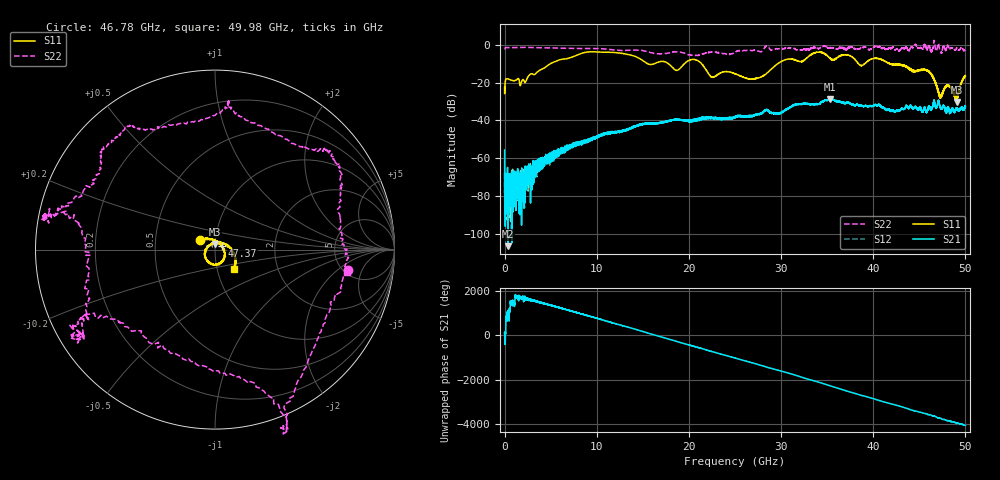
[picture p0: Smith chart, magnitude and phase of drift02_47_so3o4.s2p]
!Created with skrf (http://scikit-rf.org).
# Hz S RI R 50.0
!freq ReS11 ImS11 ReS21 ImS21 ReS12 ImS12 ReS22 ImS22
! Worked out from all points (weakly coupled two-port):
!   10001 points, 300 kHz to 50 GHz, reference 50 ohm
!   highest |S21| = -28.56 dB at 35.32 GHz (marker M1); lowest = -106.5 dB at 340.3 MHz (marker M2)
!   lowest |S11| = -30.2 dB at 49.06 GHz (marker M3), VSWR 1.06, Z = 49.9 + j3.08 ohm
!   |S11| at or under -10 dB: start of sweep to 4.957 GHz; 21.38 GHz to 29.63 GHz (8.251 GHz wide, 32.4 % of centre); 41.84 GHz to end of sweep (the widest 3 of 12)
!   |S22| runs from -5.7 to 2.3 dB; largest |S21 - S12| = 0.0033
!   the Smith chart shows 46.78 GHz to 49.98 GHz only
!   S11 on the Smith chart (normalised r, x): 46.78 GHz: 0.84, +0.09; 47.37 GHz: 1.08, +0.04; 49.98 GHz: 1.20, -0.26
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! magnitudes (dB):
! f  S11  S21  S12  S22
! 300 kHz  -22.4  -55.6  -67.9  -2.0
! 340.3 MHz  -18.0  -106.5  -85.2  -1.4
! 1.87 GHz  -19.1  -65.4  -70.0  -1.3
! 3.675 GHz  -13.9  -63.0  -63.3  -1.5
! 8.335 GHz  -4.5  -52.0  -52.0  -1.9
! 16.67 GHz  -9.1  -41.6  -41.4  -4.7
! 18.7 GHz  -13.5  -39.5  -39.6  -3.7
! 20.6 GHz  -7.7  -40.0  -39.7  -5.7
! 22.51 GHz  -17.1  -38.7  -38.8  -3.7
! 25 GHz  -15.2  -38.3  -38.1  -3.9
! 27.49 GHz  -17.5  -36.8  -36.8  -3.2
! 30.22 GHz  -8.3  -35.3  -35.1  -2.1
! 33.34 GHz  -4.9  -31.2  -31.3  -1.6
! 35.32 GHz  -7.1  -28.6  -28.8  -1.3
! 41.67 GHz  -9.6  -34.1  -34.3  -1.9
! 45.78 GHz  -13.4  -35.5  -35.6  -2.0
! 46.78 GHz  -20.0  -32.9  -32.8  -2.5
! 47.37 GHz  -27.0  -33.6  -33.5  -4.1
! 48.11 GHz  -21.4  -33.8  -33.2  -0.5
! 49.06 GHz  -30.2  -34.0  -33.9  -1.7
! 49.98 GHz  -16.5  -32.3  -32.7  -2.6
! 50 GHz  -16.4  -32.7  -32.3  -2.7
